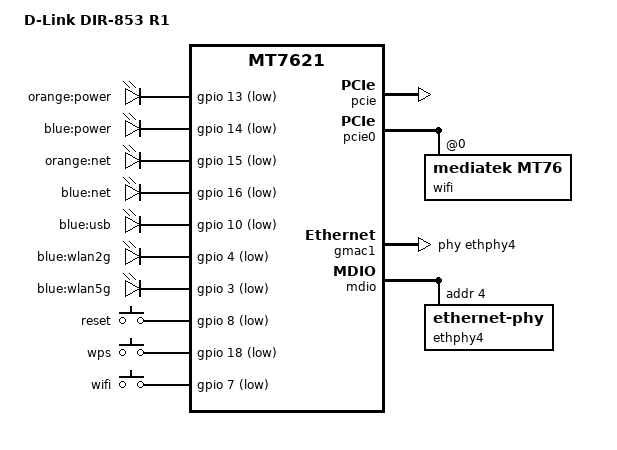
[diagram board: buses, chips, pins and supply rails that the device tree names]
// SPDX-License-Identifier: GPL-2.0-or-later OR MIT

#include "mt7621.dtsi"

#include "mt7621_dlink_flash-16m-r1.dtsi"

#include <dt-bindings/gpio/gpio.h>
#include <dt-bindings/input/input.h>

/ {
	compatible = "dlink,dir-853-r1", "mediatek,mt7621-soc";
	model = "D-Link DIR-853 R1";

	aliases {
		label-mac-device = &gmac1;

		led-boot = &led_power_orange;
		led-failsafe = &led_power_blue;
		led-running = &led_power_blue;
		led-upgrade = &led_net_orange;
	};

	leds {
		compatible = "gpio-leds";

		led_power_orange: power_orange {
			label = "orange:power";
			gpios = <&gpio 13 GPIO_ACTIVE_LOW>;
		};

		led_power_blue: power_blue {
			label = "blue:power";
			gpios = <&gpio 14 GPIO_ACTIVE_LOW>;
		};

		led_net_orange: net_orange {
			label = "orange:net";
			gpios = <&gpio 15 GPIO_ACTIVE_LOW>;
		};

		net_blue {
			label = "blue:net";
			gpios = <&gpio 16 GPIO_ACTIVE_LOW>;
		};

		usb_blue {
			label = "blue:usb";
			gpios = <&gpio 10 GPIO_ACTIVE_LOW>;
			trigger-sources = <&xhci_ehci_port1>;
			linux,default-trigger = "usbport";
		};

		wlan2g {
			label = "blue:wlan2g";
			gpios = <&gpio 4 GPIO_ACTIVE_LOW>;
			linux,default-trigger = "phy0radio";
		};

		wlan5g {
			label = "blue:wlan5g";
			gpios = <&gpio 3 GPIO_ACTIVE_LOW>;
			linux,default-trigger = "phy1radio";
		};
	};

	keys {
		compatible = "gpio-keys";

		reset {
			label = "reset";
			gpios = <&gpio 8 GPIO_ACTIVE_LOW>;
			linux,code = <KEY_RESTART>;
		};

		wps {
			label = "wps";
			gpios = <&gpio 18 GPIO_ACTIVE_LOW>;
			linux,code = <KEY_WPS_BUTTON>;
		};

		wifi {
			label = "wifi";
			gpios = <&gpio 7 GPIO_ACTIVE_LOW>;
			linux,code = <KEY_RFKILL>;
		};
	};
};

&pcie {
	status = "okay";
};

&pcie0 {
	wifi@0,0 {
		compatible = "mediatek,mt76";
		reg = <0x0000 0 0 0 0>;

		mediatek,mtd-eeprom = <&factory 0x0>;

		/* 5 GHz (phy1) does not take the address from calibration data,
		   but setting it manually here works */
		nvmem-cells = <&macaddr_factory_4>;
		nvmem-cell-names = "mac-address";
	};
};

&gmac0 {
	nvmem-cells = <&macaddr_factory_4>;
	nvmem-cell-names = "mac-address";
	mac-address-increment = <(-1)>;
};

&gmac1 {
	status = "okay";
	label = "wan";
	phy-handle = <&ethphy4>;

	nvmem-cells = <&macaddr_factory_4>;
	nvmem-cell-names = "mac-address";
	mac-address-increment = <(-2)>;
};

&mdio {
	ethphy4: ethernet-phy@4 {
		reg = <4>;
	};
};

&switch0 {
	ports {
		port@0 {
			status = "okay";
			label = "lan4";
		};

		port@1 {
			status = "okay";
			label = "lan3";
		};

		port@2 {
			status = "okay";
			label = "lan2";
		};

		port@3 {
			status = "okay";
			label = "lan1";
		};
	};
};

&state_default {
	gpio {
		groups = "i2c", "uart3", "uart2", "jtag", "wdt";
		function = "gpio";
	};
};

&factory {
	compatible = "nvmem-cells";
	#address-cells = <1>;
	#size-cells = <1>;

	macaddr_factory_4: macaddr@4 {
		reg = <0x4 0x6>;
	};
};
